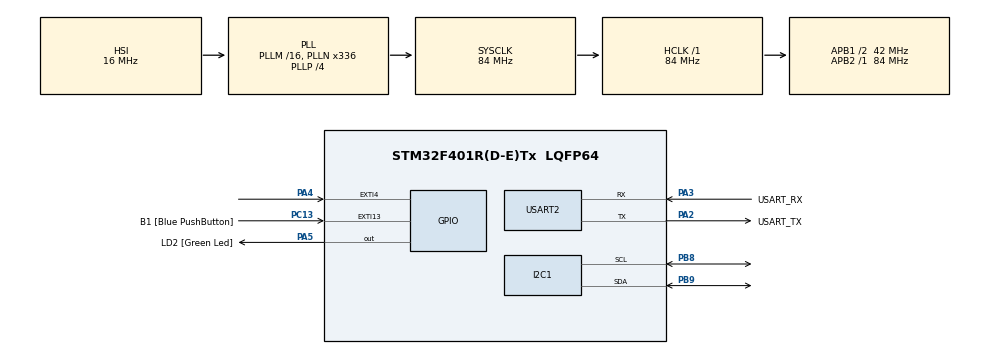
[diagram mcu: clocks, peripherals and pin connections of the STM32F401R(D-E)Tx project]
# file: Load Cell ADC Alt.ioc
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I2C1.I2C_Mode=I2C_Standard
Mcu.Family=STM32F4
Mcu.Name=STM32F401R(D-E)Tx
Mcu.Package=LQFP64
NVIC.EXTI4_IRQn=true\:0\:0\:false\:false\:true\:true\:true\:true
NVIC.PriorityGroup=NVIC_PRIORITYGROUP_0
PA13.GPIO_Label=TMS
PA13.Mode=Serial_Wire
PA13.Signal=SYS_JTMS-SWDIO
PA14.GPIO_Label=TCK
PA14.Mode=Serial_Wire
PA14.Signal=SYS_JTCK-SWCLK
PA2.GPIO_Label=USART_TX
PA2.GPIO_Mode=GPIO_MODE_AF_PP
PA2.GPIO_PuPd=GPIO_NOPULL
PA2.GPIO_Speed=GPIO_SPEED_FREQ_LOW
PA2.Mode=Asynchronous
PA2.Signal=USART2_TX
PA3.GPIO_Label=USART_RX
PA3.GPIO_Mode=GPIO_MODE_AF_PP
PA3.GPIO_PuPd=GPIO_NOPULL
PA3.GPIO_Speed=GPIO_SPEED_FREQ_LOW
PA3.Mode=Asynchronous
PA3.Signal=USART2_RX
PA4.GPIO_ModeDefaultEXTI=GPIO_MODE_IT_FALLING
PA4.Signal=GPXTI4
PA5.GPIO_Label=LD2 [Green Led]
PA5.GPIO_Mode=GPIO_MODE_OUTPUT_PP
PA5.GPIO_PuPd=GPIO_NOPULL
PA5.GPIO_Speed=GPIO_SPEED_FREQ_LOW
PA5.Signal=GPIO_Output
PB3.GPIO_Label=SWO
PB3.Signal=SYS_JTDO-SWO
PB8.Mode=I2C
PB8.Signal=I2C1_SCL
PB9.Mode=I2C
PB9.Signal=I2C1_SDA
PC13-ANTI_TAMP.GPIO_Label=B1 [Blue PushButton]
PC13-ANTI_TAMP.GPIO_ModeDefaultEXTI=GPIO_MODE_IT_FALLING
PC13-ANTI_TAMP.GPIO_PuPd=GPIO_NOPULL
PC13-ANTI_TAMP.Signal=GPXTI13
PC14-OSC32_IN.Mode=LSE-External-Oscillator
PC14-OSC32_IN.Signal=RCC_OSC32_IN
PC15-OSC32_OUT.Mode=LSE-External-Oscillator
PC15-OSC32_OUT.Signal=RCC_OSC32_OUT
PH0\ -\ OSC_IN.Mode=HSE-External-Clock-Source
PH0\ -\ OSC_IN.Signal=RCC_OSC_IN
PH1\ -\ OSC_OUT.Mode=HSE-External-Clock-Source
PH1\ -\ OSC_OUT.Signal=RCC_OSC_OUT
ProjectManager.HeapSize=0x200
ProjectManager.StackSize=0x400
ProjectManager.TargetToolchain=STM32CubeIDE
RCC.48MHZClocksFreq_Value=48000000
RCC.AHBFreq_Value=84000000
RCC.APB1CLKDivider=RCC_HCLK_DIV2
RCC.APB1Freq_Value=42000000
RCC.APB1TimFreq_Value=84000000
RCC.APB2Freq_Value=84000000
RCC.APB2TimFreq_Value=84000000
RCC.CortexFreq_Value=84000000
RCC.HCLKFreq_Value=84000000
RCC.HSE_VALUE=8000000
RCC.HSI_VALUE=16000000
RCC.PLLN=336
RCC.PLLP=RCC_PLLP_DIV4
RCC.PLLQ=7
RCC.SYSCLKFreq_VALUE=84000000
RCC.SYSCLKSource=RCC_SYSCLKSOURCE_PLLCLK
RCC.VCOOutputFreq_Value=336000000
USART2.VirtualMode=VM_ASYNC
board=NUCLEO-F401RE

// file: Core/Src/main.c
/* USER CODE BEGIN Header */
/**
  ******************************************************************************
  * @file           : main.c
  * @brief          : Main program body
  ******************************************************************************
  * @attention
  *
  * Copyright (c) 2024 STMicroelectronics.
  * All rights reserved.
  *
  * This software is licensed under terms that can be found in the LICENSE file
  * in the root directory of this software component.
  * If no LICENSE file comes with this software, it is provided AS-IS.
  *
  ******************************************************************************
  */
/* USER CODE END Header */
#include "main.h"

/* USER CODE BEGIN Includes */
#include <stdbool.h>
#include <stdio.h>
#include <string.h>
/* USER CODE END Includes */

/* USER CODE BEGIN PD */
// XR20M slave address & internal register addresses
#define XR20M_ADDR 0x60
#define BUF_RHR_THR_DLL 		0x00
#define BUF_DLM_IER 			0x01
#define BUF_DLD_ISR_FCR_EFR 	0x02
#define BUF_LCR 				0x03
#define BUF_MCR_XON1 			0x04
#define BUF_LSR_XON2			0x05
#define BUF_MSR_TCR_XOFF1		0x06
#define BUF_SPR_TLR_XOFF2		0x07
#define BUF_TXLVL				0x08
#define BUF_RXLVL				0x09
#define BUF_IODIR				0x0A
#define BUF_IOSTATE				0x0B
#define BUF_IOINTEN				0x0C
#define BUF_IOCTRL				0x0E
#define BUF_EFCR				0x0F

// Barcode length constant (standard for grocery stores is 12 numbers + end-of-line character)
#define BARCODE_LEN 			14

/* USER CODE END PD */

I2C_HandleTypeDef hi2c1;

UART_HandleTypeDef huart2;

/* USER CODE BEGIN PV */
bool bufferDataFlag = 0;

/* USER CODE END PV */

void SystemClock_Config(void);
static void MX_GPIO_Init(void);
static void MX_USART2_UART_Init(void);
static void MX_I2C1_Init(void);
/* USER CODE BEGIN PFP */
void BufferRegisterWrite(uint8_t *txBytes, uint8_t regAddr, uint8_t regData, bool selChB);
void BufferRegisterRead(uint8_t *rxBytes, uint8_t regAddr, uint8_t numBytes, bool selChB);
/* USER CODE END PFP */

/* USER CODE BEGIN 0 */
// Redirecting the printf function to print to the console (over UART2)
int _write(int file, char *data, int len) {
    // Redirect printf to UART
    HAL_UART_Transmit(&huart2, (uint8_t*)data, len, HAL_MAX_DELAY);
    return len;
}
/* USER CODE END 0 */

int main(void)
{

  /* USER CODE BEGIN 1 */
	char rxBuffer[BARCODE_LEN + 1] = {0};
	uint8_t rxI2C[64] = {0};
	uint8_t txI2C[64] = {0};

  /* USER CODE END 1 */

  /* MCU Configuration--------------------------------------------------------*/

  /* Reset of all peripherals, Initializes the Flash interface and the Systick. */
  HAL_Init();

  /* Configure the system clock */
  SystemClock_Config();

  /* Initialize all configured peripherals */
  MX_GPIO_Init();
  MX_USART2_UART_Init();
  MX_I2C1_Init();
  /* USER CODE BEGIN 2 */
  // Configuring the XR20M1172 buffer on startup
  	// Starting with line control register (LCR) to get access to enhanced features for config
  	BufferRegisterWrite(txI2C, BUF_LCR, 0xBF, 0);
  	BufferRegisterWrite(txI2C, BUF_LCR, 0xBF, 1);
  	// Enabling enhanced features for both channels
  	BufferRegisterWrite(txI2C, BUF_DLD_ISR_FCR_EFR, 0x10, 0);
  	BufferRegisterWrite(txI2C, BUF_DLD_ISR_FCR_EFR, 0x10, 1);

  	// Configure UART with LCR, also gives access to divisor registers to be configured
  	BufferRegisterWrite(txI2C, BUF_LCR, 0x83, 0); // Channel A configured to 8-bit word length, no parity, 1 stop bit, divisor registers enabled
  	BufferRegisterWrite(txI2C, BUF_LCR, 0x83, 1); // Channel B configured to 8-bit word length, no parity, 1 stop bit, divisor registers enabled
  	// Configure clock divisors - set baud rate for channel A and B to 9600 (based on 24MHz crystal)
  	BufferRegisterWrite(txI2C, BUF_RHR_THR_DLL, 0x9C, 0);
  	BufferRegisterWrite(txI2C, BUF_DLD_ISR_FCR_EFR, 0x04, 0);
  	BufferRegisterWrite(txI2C, BUF_DLM_IER, 0x00, 0);
  	BufferRegisterWrite(txI2C, BUF_RHR_THR_DLL, 0x9C, 1);
  	BufferRegisterWrite(txI2C, BUF_DLD_ISR_FCR_EFR, 0x04, 1);
  	BufferRegisterWrite(txI2C, BUF_DLM_IER, 0x00, 1);
  	// Re-configure LCR to change access from divisor registers to other config registers
  	BufferRegisterWrite(txI2C, BUF_LCR, 0x03, 0);
  	BufferRegisterWrite(txI2C, BUF_LCR, 0x03, 1);

  	// Enable FIFO mode for both channels and reset
  	BufferRegisterWrite(txI2C, BUF_DLD_ISR_FCR_EFR, 0x07, 0);
  	BufferRegisterWrite(txI2C, BUF_DLD_ISR_FCR_EFR, 0x07, 1);
  	// Enable the trigger level registers
  	BufferRegisterWrite(txI2C, BUF_MCR_XON1, 0x04, 0);
  	BufferRegisterWrite(txI2C, BUF_MCR_XON1, 0x04, 1);
  	// Set the trigger level to 12 characters (used for interrupt generation)
  	BufferRegisterWrite(txI2C, BUF_SPR_TLR_XOFF2, 0x03, 0);
  	BufferRegisterWrite(txI2C, BUF_SPR_TLR_XOFF2, 0x03, 1);
  	// Enable the interrupt for the receive buffer trigger level
  	BufferRegisterWrite(txI2C, BUF_DLM_IER, 0x01, 0);
  	BufferRegisterWrite(txI2C, BUF_DLM_IER, 0x01, 1);

  /* USER CODE END 2 */

  /* Infinite loop */
  /* USER CODE BEGIN WHILE */
  while (1)
  {
	  // Check if an interrupt was received indicating data is available from the buffer
//	if (bufferDataFlag) {
//		bufferDataFlag = 0; // Reset the flag
//
//		// Check the amount stored in each buffer - if a full barcode is stored (12 characters + end-of-line character), read it from the FIFO buffer
//		BufferRegisterRead(rxI2C, BUF_RXLVL, 1, 0);
//		// Keep reading barcodes as long as the buffer contains enough characters
//		while (rxI2C[0] >= BARCODE_LEN) {
//			BufferRegisterRead(rxI2C, BUF_RHR_THR_DLL, BARCODE_LEN, 0);
//			// Format the recevied data into a character array
//			for (int i = 0; i < BARCODE_LEN; i++) {
//				rxBuffer[i] = (char)rxI2C[i];
//			}
//			rxBuffer[BARCODE_LEN] = '\0'; // Add null-terminator to end the string
//
//			printf("Received barcode from scanner A: %s\n", rxBuffer);
//			// Re-read the buffer level to check if any barcodes remaining
//			BufferRegisterRead(rxI2C, BUF_RXLVL, 1, 0);
//		}
//		BufferRegisterRead(rxI2C, BUF_RXLVL, 1, 1);
//		while (rxI2C[0] >= BARCODE_LEN) {
//			BufferRegisterRead(rxI2C, BUF_RHR_THR_DLL, BARCODE_LEN, 1);
//			for (int i = 0; i < BARCODE_LEN; i++) {
//				rxBuffer[i] = (char)rxI2C[i];
//			}
//			rxBuffer[BARCODE_LEN] = '\0';
//
//			printf("Received barcode from scanner B: %s\n", rxBuffer);
//			// Re-read the buffer level to check if any barcodes remaining
//			BufferRegisterRead(rxI2C, BUF_RXLVL, 1, 1);
//		}
//	}
	  // Check the amount stored in each buffer - if a full barcode is stored (12 characters + end-of-line character), read it from the FIFO buffer
	  	HAL_Delay(1000);
	  	printf("Checking barcode scanner buffers...\r\n");
		BufferRegisterRead(rxI2C, BUF_RXLVL, 1, 0);
		// Keep reading barcodes as long as the buffer contains enough characters
		while (rxI2C[0] >= BARCODE_LEN) {
			BufferRegisterRead(rxI2C, BUF_RHR_THR_DLL, BARCODE_LEN, 0);
			// Format the received data into a character array
			for (int i = 0; i < BARCODE_LEN; i++) {
				rxBuffer[i] = (char)rxI2C[i];
			}
			rxBuffer[BARCODE_LEN] = '\0'; // Add null-terminator to end the string

			printf("Received barcode from scanner A: %s\n", rxBuffer);
			// Re-read the buffer level to check if any barcodes remaining
			BufferRegisterRead(rxI2C, BUF_RXLVL, 1, 0);
		}
		BufferRegisterRead(rxI2C, BUF_RXLVL, 1, 1);
		while (rxI2C[0] >= BARCODE_LEN) {
			BufferRegisterRead(rxI2C, BUF_RHR_THR_DLL, BARCODE_LEN, 1);
			for (int i = 0; i < BARCODE_LEN; i++) {
				rxBuffer[i] = (char)rxI2C[i];
			}
			rxBuffer[BARCODE_LEN] = '\0';

			printf("Received barcode from scanner B: %s\n", rxBuffer);
			// Re-read the buffer level to check if any barcodes remaining
			BufferRegisterRead(rxI2C, BUF_RXLVL, 1, 1);
		}

		// Try transmitting something on channel A
		HAL_Delay(100);
		BufferRegisterRead(rxI2C, BUF_LSR_XON2, 1, 0);
		for (int i = 0; i < 16; i++) {
			BufferRegisterWrite(txI2C, BUF_RHR_THR_DLL, (uint8_t)(i*2 + 1), 0);
		}
		BufferRegisterRead(rxI2C, BUF_LSR_XON2, 1, 0);
		// Read LSR for each channel
		HAL_Delay(100);
		BufferRegisterRead(rxI2C, BUF_LSR_XON2, 1, 1);

    /* USER CODE END WHILE */

  }
}

void SystemClock_Config(void)
{
  RCC_OscInitTypeDef RCC_OscInitStruct = {0};
  RCC_ClkInitTypeDef RCC_ClkInitStruct = {0};

  /** Configure the main internal regulator output voltage
  */
  __HAL_RCC_PWR_CLK_ENABLE();
  __HAL_PWR_VOLTAGESCALING_CONFIG(PWR_REGULATOR_VOLTAGE_SCALE2);

  /** Initializes the RCC Oscillators according to the specified parameters
  * in the RCC_OscInitTypeDef structure.
  */
  RCC_OscInitStruct.OscillatorType = RCC_OSCILLATORTYPE_HSI;
  RCC_OscInitStruct.HSIState = RCC_HSI_ON;
  RCC_OscInitStruct.HSICalibrationValue = RCC_HSICALIBRATION_DEFAULT;
  RCC_OscInitStruct.PLL.PLLState = RCC_PLL_ON;
  RCC_OscInitStruct.PLL.PLLSource = RCC_PLLSOURCE_HSI;
  RCC_OscInitStruct.PLL.PLLM = 16;
  RCC_OscInitStruct.PLL.PLLN = 336;
  RCC_OscInitStruct.PLL.PLLP = RCC_PLLP_DIV4;
  RCC_OscInitStruct.PLL.PLLQ = 7;
  if (HAL_RCC_OscConfig(&RCC_OscInitStruct) != HAL_OK)
  {
    Error_Handler();
  }

  /** Initializes the CPU, AHB and APB buses clocks
  */
  RCC_ClkInitStruct.ClockType = RCC_CLOCKTYPE_HCLK|RCC_CLOCKTYPE_SYSCLK
                              |RCC_CLOCKTYPE_PCLK1|RCC_CLOCKTYPE_PCLK2;
  RCC_ClkInitStruct.SYSCLKSource = RCC_SYSCLKSOURCE_PLLCLK;
  RCC_ClkInitStruct.AHBCLKDivider = RCC_SYSCLK_DIV1;
  RCC_ClkInitStruct.APB1CLKDivider = RCC_HCLK_DIV2;
  RCC_ClkInitStruct.APB2CLKDivider = RCC_HCLK_DIV1;

  if (HAL_RCC_ClockConfig(&RCC_ClkInitStruct, FLASH_LATENCY_2) != HAL_OK)
  {
    Error_Handler();
  }
}

static void MX_I2C1_Init(void)
{

  hi2c1.Instance = I2C1;
  hi2c1.Init.ClockSpeed = 100000;
  hi2c1.Init.DutyCycle = I2C_DUTYCYCLE_2;
  hi2c1.Init.OwnAddress1 = 0;
  hi2c1.Init.AddressingMode = I2C_ADDRESSINGMODE_7BIT;
  hi2c1.Init.DualAddressMode = I2C_DUALADDRESS_DISABLE;
  hi2c1.Init.OwnAddress2 = 0;
  hi2c1.Init.GeneralCallMode = I2C_GENERALCALL_DISABLE;
  hi2c1.Init.NoStretchMode = I2C_NOSTRETCH_DISABLE;
  if (HAL_I2C_Init(&hi2c1) != HAL_OK)
  {
    Error_Handler();
  }

}

static void MX_USART2_UART_Init(void)
{

  huart2.Instance = USART2;
  huart2.Init.BaudRate = 115200;
  huart2.Init.WordLength = UART_WORDLENGTH_8B;
  huart2.Init.StopBits = UART_STOPBITS_1;
  huart2.Init.Parity = UART_PARITY_NONE;
  huart2.Init.Mode = UART_MODE_TX_RX;
  huart2.Init.HwFlowCtl = UART_HWCONTROL_NONE;
  huart2.Init.OverSampling = UART_OVERSAMPLING_16;
  if (HAL_UART_Init(&huart2) != HAL_OK)
  {
    Error_Handler();
  }

}

static void MX_GPIO_Init(void)
{
  GPIO_InitTypeDef GPIO_InitStruct = {0};

  /* GPIO Ports Clock Enable */
  __HAL_RCC_GPIOC_CLK_ENABLE();
  __HAL_RCC_GPIOH_CLK_ENABLE();
  __HAL_RCC_GPIOA_CLK_ENABLE();
  __HAL_RCC_GPIOB_CLK_ENABLE();

  /*Configure GPIO pin Output Level */
  HAL_GPIO_WritePin(LD2_GPIO_Port, LD2_Pin, GPIO_PIN_RESET);

  /*Configure GPIO pin : B1_Pin */
  GPIO_InitStruct.Pin = B1_Pin;
  GPIO_InitStruct.Mode = GPIO_MODE_IT_FALLING;
  GPIO_InitStruct.Pull = GPIO_NOPULL;
  HAL_GPIO_Init(B1_GPIO_Port, &GPIO_InitStruct);

  /*Configure GPIO pin : PA4 */
  GPIO_InitStruct.Pin = GPIO_PIN_4;
  GPIO_InitStruct.Mode = GPIO_MODE_IT_FALLING;
  GPIO_InitStruct.Pull = GPIO_NOPULL;
  HAL_GPIO_Init(GPIOA, &GPIO_InitStruct);

  /*Configure GPIO pin : LD2_Pin */
  GPIO_InitStruct.Pin = LD2_Pin;
  GPIO_InitStruct.Mode = GPIO_MODE_OUTPUT_PP;
  GPIO_InitStruct.Pull = GPIO_NOPULL;
  GPIO_InitStruct.Speed = GPIO_SPEED_FREQ_LOW;
  HAL_GPIO_Init(LD2_GPIO_Port, &GPIO_InitStruct);

  /* EXTI interrupt init*/
  HAL_NVIC_SetPriority(EXTI4_IRQn, 0, 0);
  HAL_NVIC_EnableIRQ(EXTI4_IRQn);

}

/* USER CODE BEGIN 4 */
/**
 * Helper function to handle writing to one of the buffer's internal UART registers
 * @param txBytes Pointer to 8-bit integer array to transmit over I2C
 * @param regAddr Internal register address to write to
 * @param regData Data to write to the internal register
 * @param selChB Boolean for selecting channel A or B to write to
 */
void BufferRegisterWrite(uint8_t *txBytes, uint8_t regAddr, uint8_t regData, bool selChB) {
	// Construct address by shifting the register address and channel select appropriately
	uint8_t addr = (regAddr << 3) | (selChB << 1);

	// Send an I2C write to the buffer's slave address, then write the data to the register address
	txBytes[0] = addr;
	txBytes[1] = regData;
	HAL_I2C_Master_Transmit(&hi2c1, XR20M_ADDR, txBytes, 2, HAL_MAX_DELAY);
}

/**
 * Helper function to handle reading from one of the buffer's internal UART registers
 * @param rxBytes Pointer to 8-bit integer array to receive I2C data
 * @param regAddr Internal register address to read from
 * @param numBytes Number of bytes to read from the register
 * @param selChB Boolean for selecting channel A or B to write to
 */
void BufferRegisterRead(uint8_t *rxBytes, uint8_t regAddr, uint8_t numBytes, bool selChB) {
	// Construct address by shifting the register address and channel select appropriately
	uint8_t addr = (regAddr << 3) | (selChB << 1);

	// Send an I2C write to the buffer's slave address in order to indicate which register is being read from
	uint8_t txByte[1] = {addr};
	HAL_I2C_Master_Transmit(&hi2c1, XR20M_ADDR, txByte, 1, HAL_MAX_DELAY);
	// Read the number of bytes from the register
	HAL_I2C_Master_Receive(&hi2c1, XR20M_ADDR, rxBytes, numBytes, HAL_MAX_DELAY);
}

void HAL_GPIO_EXTI_Callback(uint16_t GPIO_Pin) {
    if (GPIO_Pin == GPIO_PIN_4) {
    	// Raise a flag to indicate the buffer has data to be received
        bufferDataFlag = 1;
    }
}

/* USER CODE END 4 */

void Error_Handler(void)
{
  __disable_irq();
  while (1)
  {
  }
}
